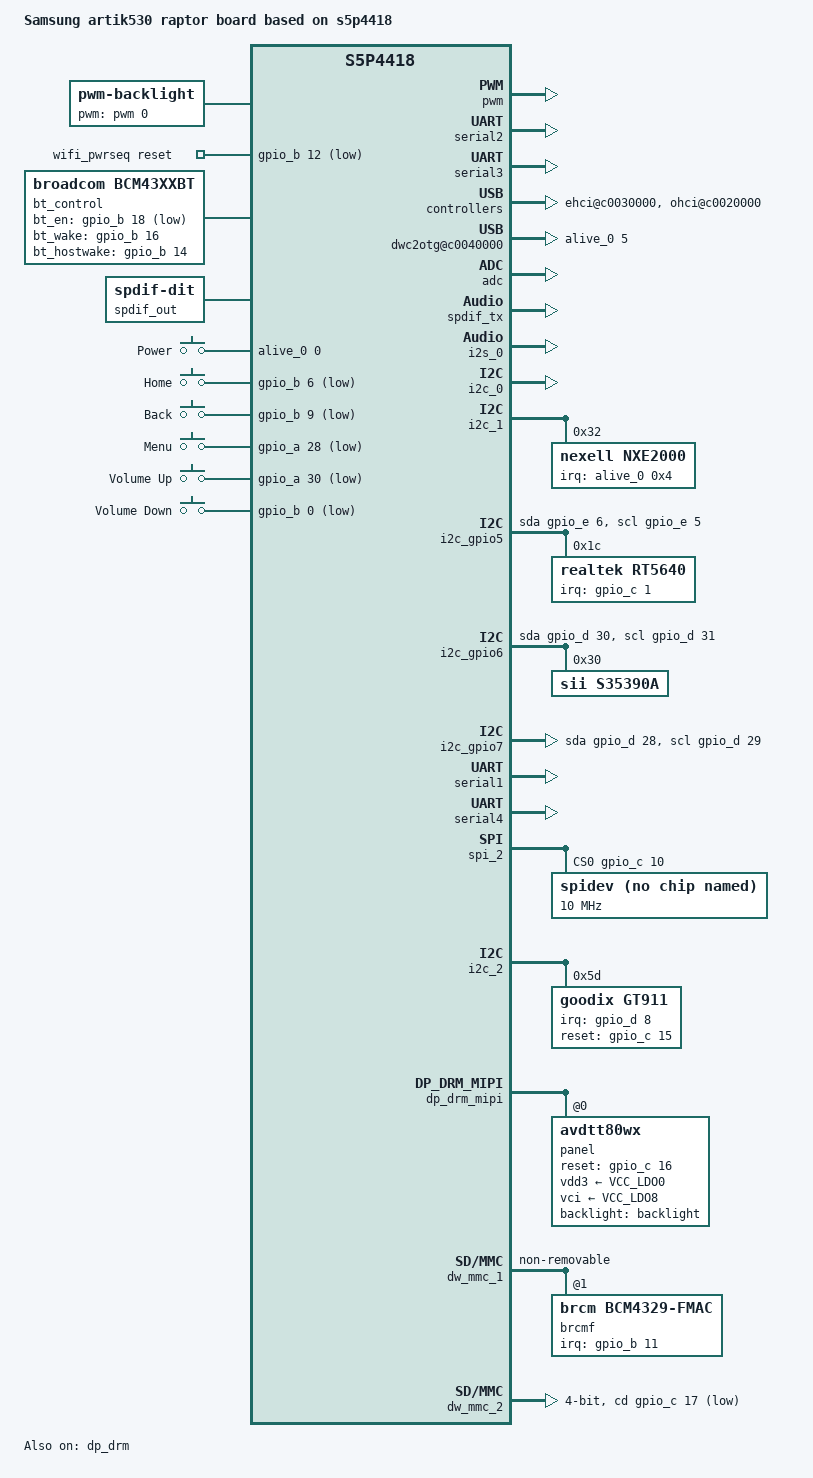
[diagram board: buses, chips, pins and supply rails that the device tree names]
/*
 * Copyright (C) 2016  Nexell Co., Ltd.
 * Author: Youngbok, Park <ybpark@nexell.co.kr>
 *
 * This program is free software; you can redistribute it and/or
 * modify it under the terms of the GNU General Public License
 * as published by the Free Software Foundation; either version 2
 * of the License, or (at your option) any later version.
 *
 * This program is distributed in the hope that it will be useful,
 * but WITHOUT ANY WARRANTY; without even the implied warranty of
 * MERCHANTABILITY or FITNESS FOR A PARTICULAR PURPOSE.  See the
 * GNU General Public License for more details.
 *
 * You should have received a copy of the GNU General Public License
 * along with this program.  If not, see <http://www.gnu.org/licenses/>.
 */

#include <dt-bindings/interrupt-controller/irq.h>
#include <dt-bindings/input/input.h>
#include <dt-bindings/gpio/gpio.h>
#include "s5p4418-artik530.dtsi"

#define PMIC_PDATA_INIT(_id, _rname, _minuv,	\
			_maxuv, _init_uv, _init_enable,		\
			_set_init_uV, _slp_slots)	\
		regulator-name = _rname;		\
		regulator-min-microvolt = <_minuv>;	\
		regulator-max-microvolt = <_maxuv>;	\
		nx,id = <_id>;				\
		nx,init_enable = <_init_enable>;	\
		nx,init_uV = <_init_uv>;		\
		nx,set_init_uV = <_set_init_uV>;	\
		nx,sleep_slots = <_slp_slots>;

/ {
	model = "Samsung artik530 raptor board based on s5p4418";
	serial-number = "0001-anchor5";
	compatible = "samsung,artik530-raptor", "samsung,artik530",
		   "nexell,s5p4418";

	psci {
		compatible = "arm,psci-0.2";
		method = "smc";
	};

	aliases {
		i2c1 = &i2c_1;
		i2c2 = &i2c_2;
		i2c3 = &i2c_gpio3;
		i2c4 = &i2c_gpio4;
		i2c5 = &i2c_gpio5;
		i2c6 = &i2c_gpio6;	/* used on Codec and RTC */
		i2c7 = &i2c_gpio7;	/* used on HDMI */
	};

	nx-v4l2 {
		status = "disabled";
	};

	soc {

		clocks {
			vip0:vip@c00c1000 { clock-frequency = <300000000>;};
			i2c0:i2c@c00ae000 { clock-frequency = <200000000>;};
			i2c1:i2c@c00af000 { clock-frequency = <200000000>;};
			i2c2:i2c@c00b0000 { clock-frequency = <200000000>;};
			pwm0:pwm0@c00ba000 {
				clk-input = <I_PLL2>;
				clock-frequency = <10000000>;
			};
			pwm1:pwm1@c00ba000 {
				clk-input = <I_PLL2>;
				clock-frequency = <10000000>;
			};
			pwm2:pwm2@c00be000 {
				clk-input = <I_PLL2>;
				clock-frequency = <10000000>;
			};
			pwm3:pwm3@c00be000 {
				clk-input = <I_PLL2>;
				clock-frequency = <10000000>;
			};
		};

		timer@c0017000 {
			clocks =  <&timer0>, <&timer1>;
			clock-names = "timer0", "timer1";
		};

		pwm:pwm@c0018000 {
			clocks =  <&pwm0>, <&pwm1>, <&pwm2>, <&pwm3>;
			clock-names = "pwm-tclk0", "pwm-tclk1", "pwm-tclk2", "pwm-tclk3";
		};

		dynamic-freq@bb000 {
			supply_name = "vdd_core_regulator";
			vdd_core_regulator-supply = <&VCC_DCDC0>;
		};

		serial2:serial@c00a2000 {
			status ="okay";
		};

		serial3:serial@c00a3000 {
			status ="okay";
		};

		nexell_usbphy: nexell-usbphy@c0012000 {
			status = "okay";
		};

		ehci@c0030000 {
			status = "okay";
			port@0 {
				status = "okay";
			};
		};

		ohci@c0020000 {
			status = "okay";
			port@0 {
				status = "okay";
			};
		};

		dwc2otg@c0040000 {
			gpios = <&alive_0 5 0>;
			g-extcon-always-on;
			status = "okay";
		};

		pinctrl@C0010000 {
			pinctrl-names = "default";
			pinctrl-0 = <&initial>;

			initial: initial-state {
				/* External GPIO */
				PIN_OUT(gpioa-0, LOW, FUNC0, NONE, STR0);
				PIN_OUT(gpioa-14, LOW, FUNC0, NONE, STR0);
				PIN_OUT(gpioa-25, LOW, FUNC0, NONE, STR0);
				PIN_OUT(gpioa-26, LOW, FUNC0, NONE, STR0);
				PIN_OUT(gpioa-27, LOW, FUNC0, NONE, STR0);
				PIN_OUT(gpiob-14, LOW, FUNC2, NONE, STR0);
				PIN_OUT(gpioe-2, LOW, FUNC0, NONE, STR0);

				/* NC */
				PIN_OUT(gpioc-1, LOW, FUNC1, NONE, STR0);
				PIN_OUT(gpioc-2, LOW, FUNC1, NONE, STR0);
				PIN_OUT(gpioc-4, LOW, FUNC1, NONE, STR0);
				PIN_OUT(gpioc-7, LOW, FUNC1, NONE, STR0);
				PIN_OUT(gpioc-24, LOW, FUNC1, NONE, STR0);
				PIN_OUT(gpioc-28, LOW, FUNC0, NONE, STR0);
				PIN_OUT(gpioe-12, LOW, FUNC0, NONE, STR0);
				PIN_OUT(gpioe-13, LOW, FUNC0, NONE, STR0);
				PIN_OUT(gpioe-22, LOW, FUNC0, NONE, STR0);
				PIN_OUT(gpioe-23, LOW, FUNC0, NONE, STR0);

				/* Led & Switch */
				/* PIN_OUT(gpioc-13, LOW, FUNC0, NONE, STR0); */

                /* LCD Panel */
                PIN_OUT(gpioc-16, LOW, FUNC0, NONE, STR0);

				/* Etc */
				PIN_IN(gpioa-10, FUNC0, NONE, STR0);
				PIN_IN(gpioa-11, FUNC0, NONE, STR0);
				PIN_IN(gpiob-27, FUNC1, NONE, STR0);
				PIN_IN(gpiod-8, FUNC0, NONE, STR0);
			};

			key_power:key-power {
				nexell,pins = "alive-0";
				nexell,pin-function = <0>;
				nexell,pin-pull = <1>;
				nexell,pin-strength = <0>;
			};

			key_home:key-home {
				nexell,pins = "gpiob-6";
				nexell,pin-function = <0>;
				nexell,pin-pull = <1>;
				nexell,pin-strength = <0>;
			};

			key_back:key-back {
				nexell,pins = "gpiob-9";
				nexell,pin-function = <0>;
				nexell,pin-pull = <1>;
				nexell,pin-strength = <0>;
			};

			key_menu:key-menu {
				nexell,pins = "gpioa-28";
				nexell,pin-function = <0>;
				nexell,pin-pull = <1>;
				nexell,pin-strength = <0>;
			};

			key_volup:key-volup {
				nexell,pins = "gpioa-30";
				nexell,pin-function = <0>;
				nexell,pin-pull = <1>;
				nexell,pin-strength = <0>;
			};

			key_voldown:key-voldown {
				nexell,pins = "gpiob-0";
				nexell,pin-function = <0>;
				nexell,pin-pull = <1>;
				nexell,pin-strength = <0>;
			};

			pmic_irq:pmic_irq{
				nexell,pins = "alive-5";
				nexell,pin-function = <NX_PIN_FUNC0>;
				nexell,pin-pull = <NX_PIN_PULL_UP>;
				nexell,pin-strength = <NX_PIN_STR0>;
			};

			touchpanel_irq: touchpanel-irq {
				nexell,pins = "gpiob-22";
				nexell,pin-function = <NX_PIN_FUNC1>;
				nexell,pin-pull = <NX_PIN_PULL_UP>;
				nexell,pin-strength = <NX_PIN_STR0>;
			};

			tsp_irq: tsp-irq {
				nexell,pins = "gpiob-8";
				nexell,pin-function = <NX_PIN_FUNC0>;
				nexell,pin-pull = <NX_PIN_PULL_UP>;
				nexell,pin-strength = <NX_PIN_STR0>;
			};

			tsp_reset: tsp-reset {
				nexell,pins = "gpioc-25";
				nexell,pin-function = <NX_PIN_FUNC0>;
				nexell,pin-pull = <NX_PIN_PULL_UP>;
				nexell,pin-strength = <NX_PIN_STR0>;
			};

			bt_cfg_reg_on: bt_cfg_reg_on {
				nexell,pins = "gpiob-18";
				nexell,pin-function = <NX_PIN_FUNC2>;
				nexell,pin-pull = <NX_PIN_PULL_NONE>;
				nexell,pin-strength = <NX_PIN_STR0>;
			};

			bt_cfg_hostwake:bt_cfg_hostwake {
				nexell,pins = "gpiob-14";
				nexell,pin-function = <2>;
				nexell,pin-pull = <0>;
				nexell,pin-strength = <0>;
			};
			bt_cfg_btwake:bt_cfg_btwake {
				nexell,pins = "gpiob-16";
				nexell,pin-function = <2>;
				nexell,pin-pull = <2>;
				nexell,pin-strength = <0>;
			};

		};

		adc:adc@c0053000 {
			status = "okay";
		};

		gmac0:ethernet@c0060000 {
			pinctrl-names = "default";
			pinctrl-0 = <&gmac_pins>;

			status = "disabled";
			#address-cells = <0x1>;
			#size-cells = <0x0>;

			snps,phy-addr = <3>;
			snps,reset-gpio = <&alive_0 2 0>;
			snps,reset-active-low;
			snps,reset-delays-us = <0 10000 30000>;

			mdio {
				#address-cells = <1>;
				#size-cells = <0>;

				ethernet_phy: ethernet-phy@3 {
					reg = <3>;
					fixed-link {
						speed = <1000>;
						full-duplex;
					};
				};
			};
		};

		watchdog@c0019000 {
			status = "okay";
		};

		spdif_tx: spdiftx@c0059000 {
			#sound-dai-cells = <1>;
			pcm-bit = <16>;
			sample_rate = <48000>;
			status = "okay";
		};

		i2s_0:i2s@c0055000 {
			#sound-dai-cells = <1>;
			master-mode = <1>;
			mclk-in = <0>;
			trans-mode = <0>;
			frame-bit = <32>;
			sample-rate = <48000>;
			pre-supply-mclk = <1>;
			status = "okay";
		};

		i2c_0:i2c@c00a4000 {
			status = "okay";
			#address-cells = <1>;
			#size-cells = <0>;
			rate = <400000>;
		};

		i2c_1:i2c@c00a5000 {
			#address-cells = <1>;
			#size-cells = <0>;
			status = "okay";

			nxe2000@32 {
				compatible = "nexell,nxe2000";
				reg = <0x32>;
				interrupt-parent = <&alive_0>;
				interrupts = <0x4 IRQ_TYPE_EDGE_FALLING>;
			};
		};

		vip_0:vip@c0063000 {
			status = "disabled";
		};

		mipi_csi:mipi_csi@c00d0000 {
			data_lane = <2>;
			pllval = <750>;
			hssettle = <7 7 7 7>;
			status = "disabled";
		};

		clipper_0:clipper0@c0063000 {
			interface_type = <NX_CAPTURE_INTERFACE_MIPI_CSI>;
			gpios = <&gpio_a 17 0 &gpio_a 3 0 &gpio_a 6 0>;
			data_order = <NX_VIN_Y0CBY1CR>;
			status = "disabled";
			sensor {
				type = <NX_CAPTURE_SENSOR_I2C>;
				i2c_name = "S5K4ECGA";
				i2c_adapter = <0>;
				addr = <0x56>;
			};
			power {
				enable_seq = <
					NX_ACTION_START NX_ACTION_TYPE_GPIO 2 1 2 NX_ACTION_END
					NX_ACTION_START NX_ACTION_TYPE_GPIO 1 1 1 NX_ACTION_END
					NX_ACTION_START NX_ACTION_TYPE_GPIO 0 1 1 NX_ACTION_END
					>;

				disable_seq = <
					NX_ACTION_START NX_ACTION_TYPE_GPIO 0 0 1 NX_ACTION_END
					NX_ACTION_START NX_ACTION_TYPE_GPIO 1 0 1 NX_ACTION_END
					NX_ACTION_START NX_ACTION_TYPE_GPIO 2 0 2 NX_ACTION_END
				>;
			};
		};

		scaler@c0066000 {
			status = "okay";
		};

		video-codec@c0080000 {
			status = "okay";
			sram = <0 0>;
		};
	};	/*** soc ***/

	backlight: pwm-backlight {
		compatible = "pwm-backlight";
#if 0
		pwms = <&pwm 0 2000000 0>;	/* 500 Hz -> Trouble in Dark side */
		pwms = <&pwm 0 10000 0>;	/* 100 KHz -> Not work*/
		pwms = <&pwm 0 2000 0>;		/* 521 KHz -> So So */
		pwms = <&pwm 0 100 0>;		/* 10 MHz, -> No brightness change, always high(3.3V) */
#endif
		pwms = <&pwm 0 1000 0>;		/* 1 MHz -> OK */

		pwm-names = "pwm-backlight";
		brightness-levels = <
			0 1 2 3 4 5 6 7 8 9
			10 11 12 13 14 15 16 17 18 19
			20 21 22 23 24 25 26 27 28 29
			30 31 32 33 34 35 36 37 38 39
			40 41 42 43 44 45 46 47 48 49
			50 51 52 53 54 55 56 57 58 59
			60 61 62 63 64 65 66 67 68 69
			70 71 72 73 74 75 76 77 78 79
			80 81 82 83 84 85 86 87 88 89
			90 91 92 93 94 95 96 97 98 99
			100 101 102 103 104 105 106 107 108 109
			110 111 112 113 114 115 116 117 118 119
			120 121 122 123 124 125 126 127 128 129
			130 131 132 133 134 135 136 137 138 139
			140 141 142 143 144 145 146 147 148 149
			150 151 152 153 154 155 156 157 158 159
			160 161 162 163 164 165 166 167 168 169
			170 171 172 173 174 175 176 177 178 179
			180 181 182 183 184 185 186 187 188 189
			190 191 192 193 194 195 196 197 198 199
			200 201 202 203 204 205 206 207 208 209
			210 211 212 213 214 215 216 217 218 219
			220 221 222 223 224 225 226 227 228 229
			230 231 232 233 234 235 236 237 238 239
			240 241 242 243 244 245 246 247 248 249
			250 251 252 253 254 255
			>;
		default-brightness-level = <100>;
		status = "okay";
	};

	wifi_pwrseq: wifi-pwrseq {
		compatible = "mmc-pwrseq-simple";
		reset-gpios = <&gpio_b 12 GPIO_ACTIVE_LOW>;
		post-power-on-delay-ms = <700>;
		power-off-delay-us = "60";
	};

	bt_control {
		compatible = "broadcom,bcm43xxbt";
		pinctrl-names = "bt cfg";
		pinctrl-0 = <&bt_cfg_reg_on &bt_cfg_hostwake &bt_cfg_btwake>;
		bt_en-gpio = <&gpio_b 18 1>; 		/* GPIOB18 = BT_EN */
		bt_wake-gpio = <&gpio_b 16 0>;		/* GPIOB16 = BT_WAKE */
		bt_hostwake-gpio = <&gpio_b 14 0>;	/* GPIOB14 = BT_HOST_WAKE */
		status = "okay";
	};

	panel: panel-simple {
		compatible = "dongguan,gst7d0038";
		backlight = <&backlight>;
		status = "disabled";

		port {
			lvds_panel: endpoint {
			};
		};
	};

	i2c_gpio3: i2c@3 {
		compatible = "i2c-gpio";
		gpios = <&gpio_a 19 0	/* SDA */
			 &gpio_a 20 0	/* SCL */
				>;
		#address-cells = <1>;
		#size-cells = <0>;
		status = "disabled";
	};

	i2c_gpio4: i2c@4 {
		compatible = "i2c-gpio";
		gpios = <&gpio_a 5 0 	/* SDA */
			&gpio_a 4 0 	/* SCL */
			>;
		i2c-gpio,delay-us = <100>;
		#address-cells = <1>;
		#size-cells = <0>;
		status = "disabled";
	};

	i2c_gpio5:i2c@5 {
		compatible = "i2c-gpio";
		gpios = <&gpio_e 6 0	/* SDA */
			 &gpio_e 5 0	/* SCL */
			>;
		i2c-gpio,delay-us = <1>;
		#address-cells = <1>;
		#size-cells = <0>;
		status = "ok";

		/* sound codec */
		alc5623: alc5623@1a {
			#sound-dai-cells = <0>;
			compatible = "realtek,alc5623";
			reg = <0x1a>;
			status = "disabled";
		};

		rt5640: rt5640@1c {
			#sound-dai-cells = <0>;
			compatible = "realtek,rt5640";
			reg = <0x1c>;
			status = "ok";

			interrupt-parent = <&gpio_c>;
			interrupts = <1 IRQ_TYPE_EDGE_RISING>;
		};
	};

	i2c_gpio6: i2c@6 {	/* used on RTC */
		compatible = "i2c-gpio";
		gpios = <&gpio_d 30 0	/* SDA */
			 &gpio_d 31 0	/* SCL */
			>;
		i2c-gpio,delay-us = <1>;	/* ~100kHz */
		#address-cells = <1>;
		#size-cells = <0>;
		status = "ok";

		/* RTC provided by Seiko S-35390A I2C RTC chip */
		s35390a: s35390a@30 {
			status = "okay";
			compatible = "sii,s35390a";
			reg = <0x30>;
		};
	};


	i2c_gpio7:i2c@7 {	/* used on HDMI */
		compatible = "i2c-gpio";
		gpios = <&gpio_d 28 0        /* SDA */
			 &gpio_d 29 0        /* SCL */
			>;

		#address-cells = <1>;
		#size-cells = <0>;
		status = "okay";
	}; /* i2c_gpio7 */

	sound {
		compatible = "simple-audio-card";
		simple-audio-card,name = "Artik530 raptor Audio";
		simple-audio-card,mclk-fs = <256>;
		simple-audio-card,widgets =
		    "Headphone", "Out Jack",
		    "Line", "Line Out",
		    "Microphone", "In Jack";
		simple-audio-card,routing =
		    "Out Jack", "HPOL",
		    "Out Jack", "HPOR",
		    "Line Out", "LOUTL",
		    "Line Out", "LOUTR",
		    "IN2P", "In Jack",
		    "IN2P", "In Jack";
		status = "okay";

		simple-audio-card,dai-link@0 {
		    format = "i2s";
		    cpu {
			sound-dai = <&i2s_0 0>;
		    };

		    codec {
			sound-dai = <&rt5640>;
		    };
		};

		simple-audio-card,dai-link@1 {
		    cpu {
			sound-dai = <&spdif_tx 0>;
		    };

		    codec {
			sound-dai = <&spdif_out>;
		    };
		};
	};

	spdif_out: spdif-out {
		#sound-dai-cells = <0>;
		compatible = "linux,spdif-dit";
	};

	gpio_key: gpio_keys {
		compatible = "gpio-keys";
		#address-cells = <1>;
		#size-cells = <0>;
		pinctrl-names = "default";
		pinctrl-0 = <&key_power &key_home &key_back &key_menu>,
			    <&key_volup &key_voldown>;

		power {
			label = "Power";
			gpios = <&alive_0 0 0>;
			linux,code = <KEY_POWER>;
			gpio-key,wakeup;
			debounce-interval = <100>;	/* touch key has 150ms interval time */
		};

		home {
			label = "Home";
			gpios = <&gpio_b 6 GPIO_ACTIVE_LOW>;
			linux,code = <KEY_PHONE>;
			gpio-key,wakeup;
			debounce-interval = <100>;	/* touch key has 150ms interval time */
		};

		back {
			label = "Back";
			gpios = <&gpio_b 9 GPIO_ACTIVE_LOW>;
			linux,code = <KEY_BACK>;
			debounce-interval = <100>;	/* touch key has 150ms interval time */
		};

		menu {
			label = "Menu";
			gpios = <&gpio_a 28 GPIO_ACTIVE_LOW>;
			linux,code = <KEY_MENU>;
			debounce-interval = <100>;	/* touch key has 150ms interval time */
		};

		key_volup {
			label = "Volume Up";
			gpios = <&gpio_a 30 GPIO_ACTIVE_LOW>;
			linux,code = <KEY_VOLUMEUP>;
			debounce-interval = <100>;	/* touch key has 150ms interval time */
		};

		key_voldown {
			label = "Volume Down";
			gpios = <&gpio_b 0 GPIO_ACTIVE_LOW>;
			linux,code = <KEY_VOLUMEDOWN>;
			debounce-interval = <100>;	/* touch key has 150ms interval time */
		};
	};

	regulators {
		VCC_DCDC0:
			dcdc1	{ PMIC_PDATA_INIT( 0,
				"nxe2000_dcdc1",
				900000, 1500000,
				1100000, 1, 0, 0x4)
				regulator-always-on;
				regulator-boot-on;};
		VCC_DCDC1:
			dcdc2	{ PMIC_PDATA_INIT( 1,
				"nxe2000_dcdc2",
				1000000, 1500000,
				1050000, 1, 1, 0x4)
				regulator-always-on;
				regulator-boot-on;};
		VCC_DCDC2:
			dcdc3	{ PMIC_PDATA_INIT( 2,
				"nxe2000_dcdc3",
				1000000, 3500000,
				3300000, 1, 1, 0x0)
				regulator-always-on;
				regulator-boot-on;};
		VCC_DCDC3:
			dcdc4	{ PMIC_PDATA_INIT( 3,
				"nxe2000_dcdc4",
				1000000, 2000000,
				1500000, 1, 0, 0xF)
				regulator-always-on;
				regulator-boot-on;};
		VCC_DCDC4:
			dcdc5	{ PMIC_PDATA_INIT( 4,
				"nxe2000_dcdc5",
				1000000, 2000000,
				1500000, 1, 0, 0x4)
				regulator-always-on;
				regulator-boot-on;};
		VCC_LDO0:
			ldo1	{ PMIC_PDATA_INIT( 5,
				"nxe2000_ldo1",
				1000000, 3500000,
				3300000, 0, 1, 0x0)
				regulator-boot-on;};
		VCC_LDO1:
			ldo2	{ PMIC_PDATA_INIT( 6,
				"nxe2000_ldo2",
				1000000, 3500000,
				3300000, 0, 1, 0x0)
				regulator-boot-on;};
		VCC_LDO2:
			ldo3	{ PMIC_PDATA_INIT( 7,
				"nxe2000_ldo3",
				1000000, 3500000,
				1800000, 1, 1, 0x2)
				regulator-always-on;
				regulator-boot-on;};
		VCC_LDO3:
			ldo4	{ PMIC_PDATA_INIT( 8,
				"nxe2000_ldo4",
				1000000, 3500000,
				1800000, 1, 1, 0x2)
				regulator-always-on;
				regulator-boot-on;};
		VCC_LDO4:
			ldo5	{ PMIC_PDATA_INIT( 9,
				"nxe2000_ldo5",
				1000000, 3500000,
				3300000, 0, 1, 0x0)
				regulator-boot-on;};
		VCC_LDO5:
			ldo6	{ PMIC_PDATA_INIT(10,
				"nxe2000_ldo6",
				1000000, 3500000,
				3300000, 1, 1, 0xF)
				regulator-always-on;
				regulator-boot-on;};
		VCC_LDO6:
			ldo7	{ PMIC_PDATA_INIT(11,
				"nxe2000_ldo7",
				1000000, 3500000,
				3300000, 1, 1, 0x1)
				regulator-always-on;
				regulator-boot-on;};
		VCC_LDO7:
			ldo8	{ PMIC_PDATA_INIT(12,
				"nxe2000_ldo8",
				1000000, 3500000,
				3300000, 0, 1, 0x0)
				regulator-boot-on;};
		VCC_LDO8:
			ldo9	{ PMIC_PDATA_INIT(13,
				"nxe2000_ldo9",
				1000000, 3500000,
				1800000, 0, 1, 0x0)
				regulator-boot-on;};
		VCC_LDO9:
			ldo10	{ PMIC_PDATA_INIT(14,
				"nxe2000_ldo10",
				1000000, 3500000,
				1000000, 1, 1, 0x0)
				regulator-always-on;
				regulator-boot-on;};
		VCC_RTC0:
			ldortc1	{ PMIC_PDATA_INIT(15,
				"nxe2000_rtc1",
				1700000, 3500000,
				1800000, 1, 1, 0xF)
				regulator-always-on;
				regulator-boot-on;};
		VCC_RTC1:
			ldortc2	{ PMIC_PDATA_INIT(16,
				"nxe2000_rtc2",
				1000000, 3500000,
				1000000, 1, 1, 0xF)
				regulator-always-on;
				regulator-boot-on;};
	}; /* regulators */


	nx-devfreq {
		pll = <3>;
		supply_name = "vdd_arm_regulator";
		vdd_arm_regulator-supply = <&VCC_DCDC1>;
		status = "okay";
	};

};

&pwm {
	pinctrl-names = "default";
	pinctrl-0 = <&pwm0_pin &pwm1_pin &pwm2_pin>;
	samsung,pwm-outputs = <0>, <1>, <2>;
	status = "okay";
};

&serial1 {
	status = "okay";
	pinctrl-0 = <&serial1_pin>, <&serial1_flow_cts>, <&serial1_flow_rts>;
};

&serial4 {
	status = "okay";
};

&spi_2 {
	status = "okay";
	cs-gpios = <&gpio_c 10 0>;
	spidev@0 {
		compatible = "linux,spidev";
		reg = <0>;
		spi-max-frequency = <10000000>;
		controller-data {
			samsung,spi-feedback-delay = <0>;
		};
	};
};

&i2c_2 {
	#address-cells = <1>;
	#size-cells = <0>;
	rate = <400000>;
	status = "okay";

	/* touch screen */
	goodix@5d {
		compatible = "goodix,gt911";
		reg = <0x5d>;
		interrupt-parent = <&gpio_d>;
		interrupts = <8 IRQ_TYPE_EDGE_FALLING>;
		irq-gpios = <&gpio_d 8 0>;
		reset-gpios = <&gpio_c 15 0>;
#if 0 /* avdtt80wx-046a-2019 */
//		touchscreen-swapped-x-y;
//		touchscreen-inverted-x;
//		touchscreen-inverted-y;
#endif
#if 0 /* avdtt80wx-039a-2020 */
//		touchscreen-swapped-x-y;
		touchscreen-inverted-x;
//		touchscreen-inverted-y;
#endif
#if 1 /* avdtt80wx-056a-2021 */
//		touchscreen-swapped-x-y;
//		touchscreen-inverted-x;
//		touchscreen-inverted-y;
#endif
		status = "okay";
	};
};

&dp_drm {
	status = "okay";
	ports {
		port@0 {
			reg = <0>;
			back_color = < 0x0 >;
			color_key = < 0x0 >;
			plane-names = "rgb", "primary", "video";
		};
		port@1 {
			reg = <1>;
			back_color = < 0x0 >;
			color_key = < 0x0 >;
			plane-names = "primary", "video";
		};
	};
};

&dp_drm_mipi {
	hs_bitrate = <600>;
	lp_bitrate = <100>;
	skip_panel_check = <1>;
	status = "okay";

#if 0 /* avdtt80wx-046a-2019 */
	display-timing {
		clock-frequency = <81244800>;
		hactive = <800>;
		vactive = <1280>;
		hfront-porch = <110>;
		hback-porch = <130>;
		hsync-len = <8>;
		vfront-porch = <12>;
		vback-porch = <7>;
		vsync-len = <3>;
	};
#endif
#if 0 /* avdtt80wx-039a-2020 */
        display-timing {
		clock-frequency = <67161600>;
		hactive = <800>;
		vactive = <1280>;
		hfront-porch = <60>;
		hback-porch = <60>;
		hsync-len = <4>;
		vfront-porch = <16>;
		vback-porch = <16>;
		vsync-len = <2>;
        };
#endif
#if 1 /* avdtt80wx-056a-2021 */
        display-timing {
		clock-frequency = <81244800>;
		hactive = <800>;
		vactive = <1280>;
		hfront-porch = <60>;
		hback-porch = <60>;
		hsync-len = <4>;
		vfront-porch = <16>;
		vback-porch = <16>;
		vsync-len = <2>;
        };
#endif

	panel@0 {
		compatible = "avdtt80wx";
		backlight = <&backlight>;
		reg = <0>;
		vdd3-supply = <&VCC_LDO0>;
		vci-supply = <&VCC_LDO8>;
        reset-gpio = <&gpio_c 16 0>;
		power-on-delay= <50>;
		reset-delay = <100>;
		init-delay = <100>;
	};

	dp_control {
		clk_src_lv0 = <3>;
		clk_div_lv0 = <10>;
		clk_src_lv1 = <7>;
		clk_div_lv1 = <1>;
		out_format = <3>;
		vs_start_offset = <0>;
		ev_start_offset = <0>;
		vs_end_offset = <0>;
		ev_end_offset = <0>;
	};
};

&dp_drm_hdmi {
	ddc-i2c-bus = <&i2c_gpio7>;
	status = "disabled";

	mode {
		width = <1280>;
		height = <720>;
	};
};

&dp_drm_lvds {
	status = "disabled";

	remote-endpoint = <&lvds_panel>;

	dp_control {
		clk_src_lv0 = <0>;
		clk_div_lv0 = <16>;
		clk_src_lv1 = <7>;
		clk_div_lv1 = <1>;
		out_format = <3>;
	};
};

&dw_mmc_1 {
	pinctrl-names = "default";
	mmc-pwrseq = <&wifi_pwrseq>;

	cap-sd-highspeed;
	cap-sdio-irq;
	mmc-ddr-3_3v;
	broken-cd;
	non-removable;
	disable-wp;

	nexell,drive_dly = <0x0>;
	nexell,drive_shift = <0x03>;
	nexell,sample_dly = <0x00>;
	nexell,sample_shift = <0x02>;

	clock-frequency = <400000000>;
	status = "okay";

	brcmf: wifi@1 {
		reg = <1>;
		compatible = "brcm,bcm4329-fmac";
		interrupt-parent = <&gpio_b>;
		interrupts = <11 IRQ_TYPE_LEVEL_HIGH>;
		interrupt-names = "host-wake";
		brcm,drive-strength = <6>;
	};
};

&dw_mmc_2 {
	num-slots = <1>;
	bus-width = <4>;
	cap-sd-highspeed;
	clock-frequency = <400000000>;
	card-detect-delay = <200>;
	disable-wp;
	cd-inverted;
	nexell,drive_dly = <0x0>;
	nexell,drive_shift = <0x02>;
	nexell,sample_dly = <0x00>;
	cd-gpios = <&gpio_c 17 0>;
	status = "okay";

	pinctrl-names = "default";
	pinctrl-0 = <&sdmmc2_cclk &sdmmc2_cmd &sdmmc2_bus4>;
};
